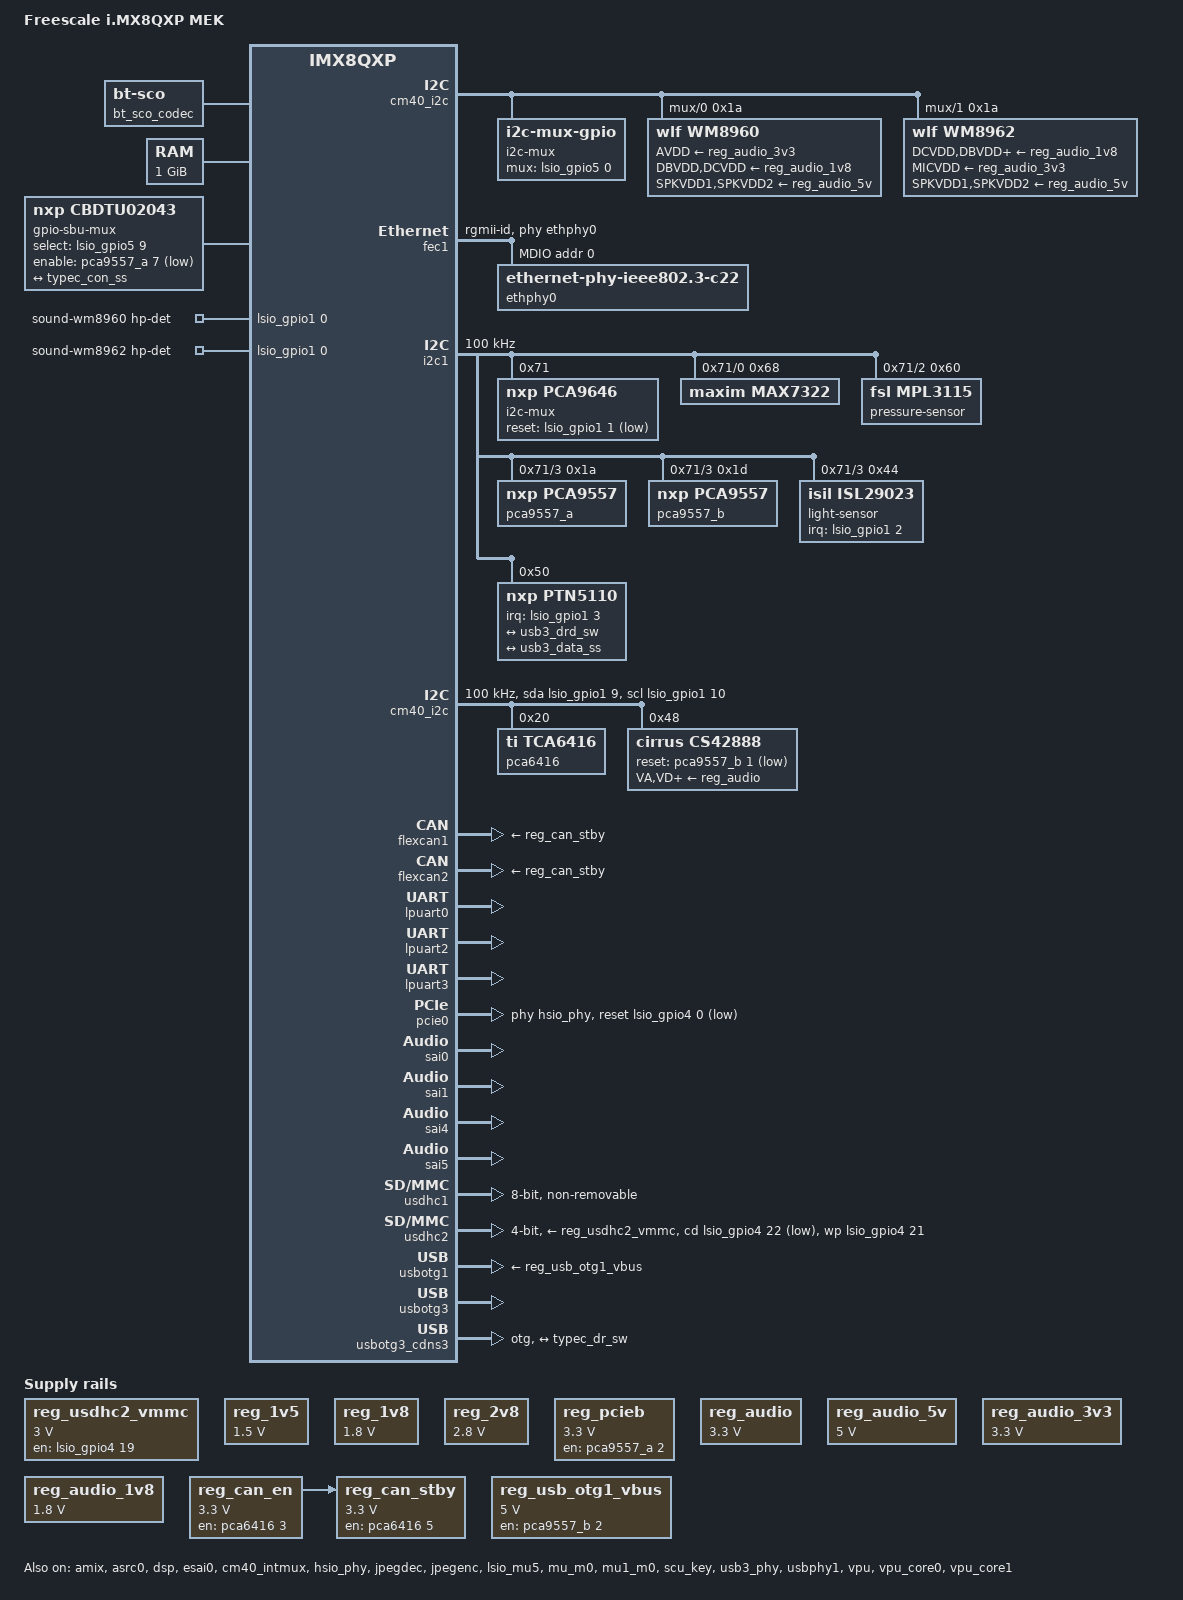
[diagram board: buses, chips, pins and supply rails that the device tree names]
// SPDX-License-Identifier: GPL-2.0+
/*
 * Copyright 2017~2018 NXP
 */

/dts-v1/;

#include "imx8qxp.dtsi"
#include <dt-bindings/usb/pd.h>

/ {
	model = "Freescale i.MX8QXP MEK";
	compatible = "fsl,imx8qxp-mek", "fsl,imx8qxp";

	bt_sco_codec: audio-codec-bt {
		compatible = "linux,bt-sco";
		#sound-dai-cells = <1>;
	};

	chosen {
		stdout-path = &lpuart0;
	};

	imx8x_cm4: imx8x-cm4 {
		compatible = "fsl,imx8qxp-cm4";
		mbox-names = "tx", "rx", "rxdb";
		mboxes = <&lsio_mu5 0 1
			  &lsio_mu5 1 1
			  &lsio_mu5 3 1>;
		memory-region = <&vdevbuffer>, <&vdev0vring0>, <&vdev0vring1>,
				<&vdev1vring0>, <&vdev1vring1>, <&rsc_table>;
		power-domains = <&pd IMX_SC_R_M4_0_PID0>,
				<&pd IMX_SC_R_M4_0_MU_1A>;
		fsl,entry-address = <0x34fe0000>;
		fsl,resource-id = <IMX_SC_R_M4_0_PID0>;
	};

	memory@80000000 {
		device_type = "memory";
		reg = <0x00000000 0x80000000 0 0x40000000>;
	};

	reg_usdhc2_vmmc: usdhc2-vmmc {
		compatible = "regulator-fixed";
		regulator-name = "SD1_SPWR";
		regulator-min-microvolt = <3000000>;
		regulator-max-microvolt = <3000000>;
		gpio = <&lsio_gpio4 19 GPIO_ACTIVE_HIGH>;
		enable-active-high;
	};

	gpio-sbu-mux {
		compatible = "nxp,cbdtu02043", "gpio-sbu-mux";
		pinctrl-names = "default";
		pinctrl-0 = <&pinctrl_typec_mux>;
		select-gpios = <&lsio_gpio5 9 GPIO_ACTIVE_HIGH>;
		enable-gpios = <&pca9557_a 7 GPIO_ACTIVE_LOW>;
		orientation-switch;

		port {
			usb3_data_ss: endpoint {
				remote-endpoint = <&typec_con_ss>;
			};
		};
	};

	i2c-mux {
		compatible = "i2c-mux-gpio";
		mux-gpios = <&lsio_gpio5 0 GPIO_ACTIVE_HIGH>; /* needs to be an unused GPIO */
		i2c-parent = <&cm40_i2c>;
		#address-cells = <1>;
		#size-cells = <0>;

		i2c@0 {
			reg = <0>;
			#address-cells = <1>;
			#size-cells = <0>;

			wm8960: audio-codec@1a {
				compatible = "wlf,wm8960";
				reg = <0x1a>;
				clocks = <&mclkout0_lpcg IMX_LPCG_CLK_0>;
				clock-names = "mclk";
				assigned-clocks = <&clk IMX_SC_R_AUDIO_PLL_0 IMX_SC_PM_CLK_PLL>,
						  <&clk IMX_SC_R_AUDIO_PLL_0 IMX_SC_PM_CLK_SLV_BUS>,
						  <&clk IMX_SC_R_AUDIO_PLL_0 IMX_SC_PM_CLK_MST_BUS>,
						  <&mclkout0_lpcg IMX_LPCG_CLK_0>;
				assigned-clock-rates = <786432000>,
						       <49152000>,
						       <12288000>,
						       <12288000>;
				wlf,shared-lrclk;
				wlf,hp-cfg = <2 2 3>;
				wlf,gpio-cfg = <1 3>;
				AVDD-supply = <&reg_audio_3v3>;
				DBVDD-supply = <&reg_audio_1v8>;
				DCVDD-supply = <&reg_audio_1v8>;
				SPKVDD1-supply = <&reg_audio_5v>;
				SPKVDD2-supply = <&reg_audio_5v>;
			};
		};

		i2c@1 {
			reg = <1>;
			#address-cells = <1>;
			#size-cells = <0>;

			wm8962: wm8962@1a {
				compatible = "wlf,wm8962";
				reg = <0x1a>;
				clocks = <&mclkout0_lpcg IMX_LPCG_CLK_0>;
				assigned-clocks = <&clk IMX_SC_R_AUDIO_PLL_0 IMX_SC_PM_CLK_PLL>,
						  <&clk IMX_SC_R_AUDIO_PLL_0 IMX_SC_PM_CLK_SLV_BUS>,
						  <&clk IMX_SC_R_AUDIO_PLL_0 IMX_SC_PM_CLK_MST_BUS>,
						  <&mclkout0_lpcg IMX_LPCG_CLK_0>;
				assigned-clock-rates = <786432000>,
						       <49152000>,
						       <12288000>,
						       <12288000>;
				DCVDD-supply = <&reg_audio_1v8>;
				DBVDD-supply = <&reg_audio_1v8>;
				AVDD-supply = <&reg_audio_1v8>;
				CPVDD-supply = <&reg_audio_1v8>;
				MICVDD-supply = <&reg_audio_3v3>;
				PLLVDD-supply = <&reg_audio_1v8>;
				SPKVDD1-supply = <&reg_audio_5v>;
				SPKVDD2-supply = <&reg_audio_5v>;
			};
		};
	};

	reg_1v5: regulator-1v5 {
		compatible = "regulator-fixed";
		regulator-name = "1v5";
		regulator-min-microvolt = <1500000>;
		regulator-max-microvolt = <1500000>;
	};

	reg_1v8: regulator-1v8 {
		compatible = "regulator-fixed";
		regulator-name = "1v8";
		regulator-min-microvolt = <1800000>;
		regulator-max-microvolt = <1800000>;
	};

	reg_2v8: regulator-2v8 {
		compatible = "regulator-fixed";
		regulator-name = "2v8";
		regulator-min-microvolt = <2800000>;
		regulator-max-microvolt = <2800000>;
	};

	reg_pcieb: regulator-pcie {
		compatible = "regulator-fixed";
		regulator-max-microvolt = <3300000>;
		regulator-min-microvolt = <3300000>;
		regulator-name = "mpcie_3v3";
		gpio = <&pca9557_a 2 GPIO_ACTIVE_HIGH>;
		enable-active-high;
	};

	reg_audio: regulator-audio {
		compatible = "regulator-fixed";
		regulator-max-microvolt = <3300000>;
		regulator-min-microvolt = <3300000>;
		regulator-name = "cs42888_supply";
	};

	reg_audio_5v: regulator-audio-pwr {
		compatible = "regulator-fixed";
		regulator-name = "audio-5v";
		regulator-min-microvolt = <5000000>;
		regulator-max-microvolt = <5000000>;
		regulator-always-on;
		regulator-boot-on;
	};

	reg_audio_3v3: regulator-audio-3v3 {
		compatible = "regulator-fixed";
		regulator-name = "audio-3v3";
		regulator-min-microvolt = <3300000>;
		regulator-max-microvolt = <3300000>;
		regulator-always-on;
		regulator-boot-on;
	};

	reg_audio_1v8: regulator-audio-1v8 {
		compatible = "regulator-fixed";
		regulator-name = "audio-1v8";
		regulator-min-microvolt = <1800000>;
		regulator-max-microvolt = <1800000>;
		regulator-always-on;
		regulator-boot-on;
	};

	reg_can_en: regulator-can-en {
		compatible = "regulator-fixed";
		regulator-max-microvolt = <3300000>;
		regulator-min-microvolt = <3300000>;
		regulator-name = "can-en";
		gpio = <&pca6416 3 GPIO_ACTIVE_HIGH>;
		enable-active-high;
	};

	reg_can_stby: regulator-can-stby {
		compatible = "regulator-fixed";
		regulator-max-microvolt = <3300000>;
		regulator-min-microvolt = <3300000>;
		regulator-name = "can-stby";
		gpio = <&pca6416 5 GPIO_ACTIVE_HIGH>;
		enable-active-high;
		vin-supply = <&reg_can_en>;
	};

	reg_usb_otg1_vbus: regulator-usbotg1-vbus {
		compatible = "regulator-fixed";
		regulator-max-microvolt = <5000000>;
		regulator-min-microvolt = <5000000>;
		regulator-name = "usb_otg1_vbus";
		gpio = <&pca9557_b 2 GPIO_ACTIVE_HIGH>;
		enable-active-high;
	};

	reserved-memory {
		#address-cells = <2>;
		#size-cells = <2>;
		ranges;

		vdev0vring0: memory@90000000 {
			reg = <0 0x90000000 0 0x8000>;
			no-map;
		};

		vdev0vring1: memory@90008000 {
			reg = <0 0x90008000 0 0x8000>;
			no-map;
		};

		vdev1vring0: memory@90010000 {
			reg = <0 0x90010000 0 0x8000>;
			no-map;
		};

		vdev1vring1: memory@90018000 {
			reg = <0 0x90018000 0 0x8000>;
			no-map;
		};

		rsc_table: memory@900ff000 {
			reg = <0 0x900ff000 0 0x1000>;
			no-map;
		};

		vdevbuffer: memory@90400000 {
			compatible = "shared-dma-pool";
			reg = <0 0x90400000 0 0x100000>;
			no-map;
		};

		dsp_vdev0vring0: memory@942f0000 {
			reg = <0 0x942f0000 0 0x8000>;
			no-map;
		};

		dsp_vdev0vring1: memory@942f8000 {
			reg = <0 0x942f8000 0 0x8000>;
			no-map;
		};

		dsp_vdev0buffer: memory@94300000 {
			compatible = "shared-dma-pool";
			reg = <0 0x94300000 0 0x100000>;
			no-map;
		};

		/* global autoconfigured region for contiguous allocations */
		linux,cma {
			compatible = "shared-dma-pool";
			alloc-ranges = <0 0xc0000000 0 0x3c000000>;
			size = <0 0x3c000000>;
			linux,cma-default;
			reusable;
		};

		gpu_reserved: memory@880000000 {
			no-map;
			reg = <0x8 0x80000000 0 0x10000000>;
		};
	};

	sound-bt-sco {
		compatible = "simple-audio-card";
		simple-audio-card,bitclock-inversion;
		simple-audio-card,bitclock-master = <&btcpu>;
		simple-audio-card,format = "dsp_a";
		simple-audio-card,frame-master = <&btcpu>;
		simple-audio-card,name = "bt-sco-audio";

		simple-audio-card,codec {
			sound-dai = <&bt_sco_codec 1>;
		};

		btcpu: simple-audio-card,cpu {
			dai-tdm-slot-num = <2>;
			dai-tdm-slot-width = <16>;
			sound-dai = <&sai0>;
		};
	};

	sound-cs42888 {
		compatible = "fsl,imx-audio-cs42888";
		audio-asrc = <&asrc0>;
		audio-codec = <&cs42888>;
		audio-cpu = <&esai0>;
		audio-routing =
			"Line Out Jack", "AOUT1L",
			"Line Out Jack", "AOUT1R",
			"Line Out Jack", "AOUT2L",
			"Line Out Jack", "AOUT2R",
			"Line Out Jack", "AOUT3L",
			"Line Out Jack", "AOUT3R",
			"Line Out Jack", "AOUT4L",
			"Line Out Jack", "AOUT4R",
			"AIN1L", "Line In Jack",
			"AIN1R", "Line In Jack",
			"AIN2L", "Line In Jack",
			"AIN2R", "Line In Jack";
		model = "imx-cs42888";
	};

	sound-wm8960 {
		compatible = "fsl,imx-audio-wm8960";
		model = "wm8960-audio";
		audio-cpu = <&sai1>;
		audio-codec = <&wm8960>;
		hp-det-gpios = <&lsio_gpio1 0 GPIO_ACTIVE_HIGH>;
		audio-routing = "Headphone Jack", "HP_L",
				"Headphone Jack", "HP_R",
				"Ext Spk", "SPK_LP",
				"Ext Spk", "SPK_LN",
				"Ext Spk", "SPK_RP",
				"Ext Spk", "SPK_RN",
				"LINPUT1", "Mic Jack",
				"Mic Jack", "MICB";
	};

	sound-wm8962 {
		compatible = "fsl,imx-audio-wm8962";
		model = "wm8962-audio";
		audio-cpu = <&sai1>;
		audio-codec = <&wm8962>;
		hp-det-gpios = <&lsio_gpio1 0 GPIO_ACTIVE_HIGH>;
		audio-routing = "Headphone Jack", "HPOUTL",
				"Headphone Jack", "HPOUTR",
				"Ext Spk", "SPKOUTL",
				"Ext Spk", "SPKOUTR",
				"AMIC", "MICBIAS",
				"IN3R", "AMIC",
				"IN1R", "AMIC";
	};
};

&amix {
	status = "okay";
};

&asrc0 {
	fsl,asrc-rate = <48000>;
	status = "okay";
};

&dsp {
	memory-region = <&dsp_vdev0buffer>, <&dsp_vdev0vring0>,
			<&dsp_vdev0vring1>, <&dsp_reserved>;
	status = "okay";
};

&dsp_reserved {
	status = "okay";
};

&esai0 {
	assigned-clocks = <&acm IMX_ADMA_ACM_ESAI0_MCLK_SEL>,
			<&clk IMX_SC_R_AUDIO_PLL_0 IMX_SC_PM_CLK_PLL>,
			<&clk IMX_SC_R_AUDIO_PLL_0 IMX_SC_PM_CLK_SLV_BUS>,
			<&clk IMX_SC_R_AUDIO_PLL_0 IMX_SC_PM_CLK_MST_BUS>,
			<&esai0_lpcg IMX_LPCG_CLK_0>;
	assigned-clock-parents = <&aud_pll_div0_lpcg IMX_LPCG_CLK_0>;
	assigned-clock-rates = <0>, <786432000>, <49152000>, <12288000>, <49152000>;
	pinctrl-0 = <&pinctrl_esai0>;
	pinctrl-names = "default";
	status = "okay";
};

&fec1 {
	pinctrl-names = "default";
	pinctrl-0 = <&pinctrl_fec1>;
	phy-mode = "rgmii-id";
	phy-handle = <&ethphy0>;
	fsl,magic-packet;
	status = "okay";

	mdio {
		#address-cells = <1>;
		#size-cells = <0>;

		ethphy0: ethernet-phy@0 {
			compatible = "ethernet-phy-ieee802.3-c22";
			reg = <0>;
		};
	};
};

&i2c1 {
	#address-cells = <1>;
	#size-cells = <0>;
	clock-frequency = <100000>;
	pinctrl-names = "default";
	pinctrl-0 = <&pinctrl_lpi2c1 &pinctrl_ioexp_rst>;
	status = "okay";

	i2c-mux@71 {
		compatible = "nxp,pca9646", "nxp,pca9546";
		#address-cells = <1>;
		#size-cells = <0>;
		reg = <0x71>;
		reset-gpios = <&lsio_gpio1 1 GPIO_ACTIVE_LOW>;

		i2c@0 {
			#address-cells = <1>;
			#size-cells = <0>;
			reg = <0>;

			max7322: gpio@68 {
				compatible = "maxim,max7322";
				reg = <0x68>;
				gpio-controller;
				#gpio-cells = <2>;
			};
		};

		i2c@1 {
			#address-cells = <1>;
			#size-cells = <0>;
			reg = <1>;
		};

		i2c@2 {
			#address-cells = <1>;
			#size-cells = <0>;
			reg = <2>;

			pressure-sensor@60 {
				compatible = "fsl,mpl3115";
				reg = <0x60>;
			};
		};

		i2c@3 {
			#address-cells = <1>;
			#size-cells = <0>;
			reg = <3>;

			pca9557_a: gpio@1a {
				compatible = "nxp,pca9557";
				reg = <0x1a>;
				gpio-controller;
				#gpio-cells = <2>;
			};

			pca9557_b: gpio@1d {
				compatible = "nxp,pca9557";
				reg = <0x1d>;
				gpio-controller;
				#gpio-cells = <2>;
			};

			light-sensor@44 {
				pinctrl-names = "default";
				pinctrl-0 = <&pinctrl_isl29023>;
				compatible = "isil,isl29023";
				reg = <0x44>;
				interrupt-parent = <&lsio_gpio1>;
				interrupts = <2 IRQ_TYPE_EDGE_FALLING>;
			};
		};
	};

	ptn5110: tcpc@50 {
		compatible = "nxp,ptn5110", "tcpci";
		pinctrl-names = "default";
		pinctrl-0 = <&pinctrl_typec>;
		reg = <0x50>;
		interrupt-parent = <&lsio_gpio1>;
		interrupts = <3 IRQ_TYPE_LEVEL_LOW>;

		usb_con1: connector {
			compatible = "usb-c-connector";
			label = "USB-C";
			power-role = "source";
			data-role = "dual";
			source-pdos = <PDO_FIXED(5000, 3000, PDO_FIXED_USB_COMM)>;

			ports {
				#address-cells = <1>;
				#size-cells = <0>;

				port@0 {
					reg = <0>;

					typec_dr_sw: endpoint {
						remote-endpoint = <&usb3_drd_sw>;
					};
				};

				port@1 {
					reg = <1>;

					typec_con_ss: endpoint {
						remote-endpoint = <&usb3_data_ss>;
					};
				};
			};
		};
	};

};

&cm40_i2c {
	#address-cells = <1>;
	#size-cells = <0>;
	clock-frequency = <100000>;
	pinctrl-names = "default", "gpio";
	pinctrl-0 = <&pinctrl_cm40_i2c>;
	pinctrl-1 = <&pinctrl_cm40_i2c_gpio>;
	scl-gpios = <&lsio_gpio1 10 GPIO_ACTIVE_HIGH>;
	sda-gpios = <&lsio_gpio1 9 GPIO_ACTIVE_HIGH>;
	status = "okay";

	pca6416: gpio@20 {
		compatible = "ti,tca6416";
		reg = <0x20>;
		gpio-controller;
		#gpio-cells = <2>;
	};

	cs42888: audio-codec@48 {
		compatible = "cirrus,cs42888";
		reg = <0x48>;
		clocks = <&mclkout0_lpcg IMX_LPCG_CLK_0>;
		clock-names = "mclk";
		assigned-clocks = <&clk IMX_SC_R_AUDIO_PLL_0 IMX_SC_PM_CLK_PLL>,
				<&clk IMX_SC_R_AUDIO_PLL_0 IMX_SC_PM_CLK_SLV_BUS>,
				<&clk IMX_SC_R_AUDIO_PLL_0 IMX_SC_PM_CLK_MST_BUS>,
				<&mclkout0_lpcg IMX_LPCG_CLK_0>;
		assigned-clock-rates = <786432000>, <49152000>, <12288000>, <12288000>;
		reset-gpios = <&pca9557_b 1 GPIO_ACTIVE_LOW>;
		VA-supply = <&reg_audio>;
		VD-supply = <&reg_audio>;
		VLC-supply = <&reg_audio>;
		VLS-supply = <&reg_audio>;
	};
};

&cm40_intmux {
	status = "okay";
};

&hsio_phy {
	fsl,hsio-cfg = "pciea-x2-pcieb";
	fsl,refclk-pad-mode = "input";
	status = "okay";
};

&flexcan1 {
	pinctrl-0 = <&pinctrl_flexcan1>;
	pinctrl-names = "default";
	xceiver-supply = <&reg_can_stby>;
	status = "okay";
};

&flexcan2 {
	pinctrl-0 = <&pinctrl_flexcan2>;
	pinctrl-names = "default";
	xceiver-supply = <&reg_can_stby>;
	status = "okay";
};

&jpegdec {
	status = "okay";
};

&jpegenc {
	status = "okay";
};

&lpuart0 {
	pinctrl-names = "default";
	pinctrl-0 = <&pinctrl_lpuart0>;
	status = "okay";
};

&lpuart2 {
	pinctrl-names = "default";
	pinctrl-0 = <&pinctrl_lpuart2>;
	status = "okay";
};

&lpuart3 {
	pinctrl-names = "default";
	pinctrl-0 = <&pinctrl_lpuart3>;
	status = "okay";
};

&lsio_mu5 {
	status = "okay";
};

&mu_m0 {
	status = "okay";
};

&mu1_m0 {
	status = "okay";
};

&pcie0 {
	phys = <&hsio_phy 0 PHY_TYPE_PCIE 0>;
	phy-names = "pcie-phy";
	pinctrl-0 = <&pinctrl_pcieb>;
	pinctrl-names = "default";
	reset-gpios = <&lsio_gpio4 0 GPIO_ACTIVE_LOW>;
	vpcie-supply = <&reg_pcieb>;
	status = "okay";
};

&pcie0_ep {
	phys = <&hsio_phy 0 PHY_TYPE_PCIE 0>;
	phy-names = "pcie-phy";
	pinctrl-0 = <&pinctrl_pcieb>;
	pinctrl-names = "default";
	vpcie-supply = <&reg_pcieb>;
	status = "disabled";
};

&scu_key {
	status = "okay";
};

&sai0 {
	#sound-dai-cells = <0>;
	assigned-clocks = <&clk IMX_SC_R_AUDIO_PLL_0 IMX_SC_PM_CLK_PLL>,
			  <&clk IMX_SC_R_AUDIO_PLL_0 IMX_SC_PM_CLK_SLV_BUS>,
			  <&clk IMX_SC_R_AUDIO_PLL_0 IMX_SC_PM_CLK_MST_BUS>,
			  <&sai0_lpcg IMX_LPCG_CLK_0>;
	assigned-clock-rates = <786432000>, <49152000>, <12288000>, <49152000>;
	pinctrl-names = "default";
	pinctrl-0 = <&pinctrl_sai0>;
	status = "okay";
};

&sai1 {
	assigned-clocks = <&clk IMX_SC_R_AUDIO_PLL_0 IMX_SC_PM_CLK_PLL>,
			  <&clk IMX_SC_R_AUDIO_PLL_0 IMX_SC_PM_CLK_SLV_BUS>,
			  <&clk IMX_SC_R_AUDIO_PLL_0 IMX_SC_PM_CLK_MST_BUS>,
			  <&sai1_lpcg IMX_LPCG_CLK_0>;
	assigned-clock-rates = <786432000>, <49152000>, <12288000>, <49152000>;
	pinctrl-names = "default";
	pinctrl-0 = <&pinctrl_sai1>;
	status = "okay";
};

&sai4 {
	assigned-clocks = <&acm IMX_ADMA_ACM_SAI4_MCLK_SEL>,
			  <&clk IMX_SC_R_AUDIO_PLL_1 IMX_SC_PM_CLK_PLL>,
			  <&clk IMX_SC_R_AUDIO_PLL_1 IMX_SC_PM_CLK_SLV_BUS>,
			  <&clk IMX_SC_R_AUDIO_PLL_1 IMX_SC_PM_CLK_MST_BUS>,
			  <&sai4_lpcg IMX_LPCG_CLK_0>;
	assigned-clock-parents = <&aud_pll_div1_lpcg IMX_LPCG_CLK_0>;
	assigned-clock-rates = <0>, <786432000>, <98304000>, <12288000>, <98304000>;
	fsl,sai-asynchronous;
	status = "okay";
};

&sai5 {
	assigned-clocks = <&acm IMX_ADMA_ACM_SAI5_MCLK_SEL>,
			  <&clk IMX_SC_R_AUDIO_PLL_1 IMX_SC_PM_CLK_PLL>,
			  <&clk IMX_SC_R_AUDIO_PLL_1 IMX_SC_PM_CLK_SLV_BUS>,
			  <&clk IMX_SC_R_AUDIO_PLL_1 IMX_SC_PM_CLK_MST_BUS>,
			  <&sai5_lpcg IMX_LPCG_CLK_0>;
	assigned-clock-parents = <&aud_pll_div1_lpcg IMX_LPCG_CLK_0>;
	assigned-clock-rates = <0>, <786432000>, <98304000>, <12288000>, <98304000>;
	fsl,sai-asynchronous;
	status = "okay";
};

&thermal_zones {
	pmic-thermal {
		polling-delay-passive = <250>;
		polling-delay = <2000>;
		thermal-sensors = <&tsens IMX_SC_R_PMIC_0>;

		trips {
			pmic_alert0: trip0 {
				temperature = <110000>;
				hysteresis = <2000>;
				type = "passive";
			};

			pmic_crit0: trip1 {
				temperature = <125000>;
				hysteresis = <2000>;
				type = "critical";
			};
		};

		cooling-maps {
			map0 {
				trip = <&pmic_alert0>;
				cooling-device =
					<&A35_0 THERMAL_NO_LIMIT THERMAL_NO_LIMIT>,
					<&A35_1 THERMAL_NO_LIMIT THERMAL_NO_LIMIT>,
					<&A35_2 THERMAL_NO_LIMIT THERMAL_NO_LIMIT>,
					<&A35_3 THERMAL_NO_LIMIT THERMAL_NO_LIMIT>;
			};
		};
	};
};

&usdhc1 {
	assigned-clocks = <&clk IMX_SC_R_SDHC_0 IMX_SC_PM_CLK_PER>;
	assigned-clock-rates = <200000000>;
	pinctrl-names = "default";
	pinctrl-0 = <&pinctrl_usdhc1>;
	bus-width = <8>;
	no-sd;
	no-sdio;
	non-removable;
	status = "okay";
};

&usdhc2 {
	assigned-clocks = <&clk IMX_SC_R_SDHC_1 IMX_SC_PM_CLK_PER>;
	assigned-clock-rates = <200000000>;
	pinctrl-names = "default";
	pinctrl-0 = <&pinctrl_usdhc2>;
	bus-width = <4>;
	vmmc-supply = <&reg_usdhc2_vmmc>;
	cd-gpios = <&lsio_gpio4 22 GPIO_ACTIVE_LOW>;
	wp-gpios = <&lsio_gpio4 21 GPIO_ACTIVE_HIGH>;
	status = "okay";
};

&usb3_phy {
	status = "okay";
};

&usbphy1 {
	status = "okay";
};

&usbotg1 {
	adp-disable;
	hnp-disable;
	srp-disable;
	disable-over-current;
	power-active-high;
	vbus-supply = <&reg_usb_otg1_vbus>;
	status = "okay";
};

&usbotg3 {
	status = "okay";
};

&usbotg3_cdns3 {
	dr_mode = "otg";
	usb-role-switch;
	status = "okay";

	port {
		usb3_drd_sw: endpoint {
			remote-endpoint = <&typec_dr_sw>;
		};
	};
};


&vpu {
	compatible = "nxp,imx8qxp-vpu";
	status = "okay";
};

&vpu_core0 {
	reg = <0x2d040000 0x10000>;
	memory-region = <&decoder_boot>, <&decoder_rpc>;
	status = "okay";
};

&vpu_core1 {
	reg = <0x2d050000 0x10000>;
	memory-region = <&encoder_boot>, <&encoder_rpc>;
	status = "okay";
};

&iomuxc {

	pinctrl_cm40_i2c: cm40i2cgrp {
		fsl,pins = <
			IMX8QXP_ADC_IN1_M40_I2C0_SDA                            0x0600004c
			IMX8QXP_ADC_IN0_M40_I2C0_SCL                            0x0600004c
		>;
	};

	pinctrl_cm40_i2c_gpio: cm40i2cgpio-grp {
		fsl,pins = <
			IMX8QXP_ADC_IN1_LSIO_GPIO1_IO09				0xc600004c
			IMX8QXP_ADC_IN0_LSIO_GPIO1_IO10				0xc600004c
		>;
	};

	pinctrl_esai0: esai0grp {
		fsl,pins = <
			IMX8QXP_ESAI0_FSR_ADMA_ESAI0_FSR           0xc6000040
			IMX8QXP_ESAI0_FST_ADMA_ESAI0_FST           0xc6000040
			IMX8QXP_ESAI0_SCKR_ADMA_ESAI0_SCKR         0xc6000040
			IMX8QXP_ESAI0_SCKT_ADMA_ESAI0_SCKT         0xc6000040
			IMX8QXP_ESAI0_TX0_ADMA_ESAI0_TX0           0xc6000040
			IMX8QXP_ESAI0_TX1_ADMA_ESAI0_TX1           0xc6000040
			IMX8QXP_ESAI0_TX2_RX3_ADMA_ESAI0_TX2_RX3   0xc6000040
			IMX8QXP_ESAI0_TX3_RX2_ADMA_ESAI0_TX3_RX2   0xc6000040
			IMX8QXP_ESAI0_TX4_RX1_ADMA_ESAI0_TX4_RX1   0xc6000040
			IMX8QXP_ESAI0_TX5_RX0_ADMA_ESAI0_TX5_RX0   0xc6000040
		>;
	};

	pinctrl_fec1: fec1grp {
		fsl,pins = <
			IMX8QXP_ENET0_MDC_CONN_ENET0_MDC			0x06000020
			IMX8QXP_ENET0_MDIO_CONN_ENET0_MDIO			0x06000020
			IMX8QXP_ENET0_RGMII_TX_CTL_CONN_ENET0_RGMII_TX_CTL	0x06000020
			IMX8QXP_ENET0_RGMII_TXC_CONN_ENET0_RGMII_TXC		0x06000020
			IMX8QXP_ENET0_RGMII_TXD0_CONN_ENET0_RGMII_TXD0		0x06000020
			IMX8QXP_ENET0_RGMII_TXD1_CONN_ENET0_RGMII_TXD1		0x06000020
			IMX8QXP_ENET0_RGMII_TXD2_CONN_ENET0_RGMII_TXD2		0x06000020
			IMX8QXP_ENET0_RGMII_TXD3_CONN_ENET0_RGMII_TXD3		0x06000020
			IMX8QXP_ENET0_RGMII_RXC_CONN_ENET0_RGMII_RXC		0x06000020
			IMX8QXP_ENET0_RGMII_RX_CTL_CONN_ENET0_RGMII_RX_CTL	0x06000020
			IMX8QXP_ENET0_RGMII_RXD0_CONN_ENET0_RGMII_RXD0		0x06000020
			IMX8QXP_ENET0_RGMII_RXD1_CONN_ENET0_RGMII_RXD1		0x06000020
			IMX8QXP_ENET0_RGMII_RXD2_CONN_ENET0_RGMII_RXD2		0x06000020
			IMX8QXP_ENET0_RGMII_RXD3_CONN_ENET0_RGMII_RXD3		0x06000020
		>;
	};

	pinctrl_flexcan1: flexcan0grp {
		fsl,pins = <
			IMX8QXP_FLEXCAN0_TX_ADMA_FLEXCAN0_TX			0x21
			IMX8QXP_FLEXCAN0_RX_ADMA_FLEXCAN0_RX			0x21
		>;
	};

	pinctrl_flexcan2: flexcan1grp {
		fsl,pins = <
			IMX8QXP_FLEXCAN1_TX_ADMA_FLEXCAN1_TX			0x21
			IMX8QXP_FLEXCAN1_RX_ADMA_FLEXCAN1_RX			0x21
		>;
	};

	pinctrl_i2c_mipi_csi0: i2c-mipi-csi0grp {
		fsl,pins = <
			IMX8QXP_MIPI_CSI0_I2C0_SCL_MIPI_CSI0_I2C0_SCL		0xc2000020
			IMX8QXP_MIPI_CSI0_I2C0_SDA_MIPI_CSI0_I2C0_SDA		0xc2000020
		>;
	};

	pinctrl_ioexp_rst: ioexprstgrp {
		fsl,pins = <
			IMX8QXP_SPI2_SDO_LSIO_GPIO1_IO01			0x06000021
		>;
	};

	pinctrl_isl29023: isl29023grp {
		fsl,pins = <
			IMX8QXP_SPI2_SDI_LSIO_GPIO1_IO02			0x00000021
		>;
	};

	pinctrl_lpi2c1: lpi2c1grp {
		fsl,pins = <
			IMX8QXP_USB_SS3_TC1_ADMA_I2C1_SCL			0x06000021
			IMX8QXP_USB_SS3_TC3_ADMA_I2C1_SDA			0x06000021
		>;
	};

	pinctrl_lpuart0: lpuart0grp {
		fsl,pins = <
			IMX8QXP_UART0_RX_ADMA_UART0_RX				0x06000020
			IMX8QXP_UART0_TX_ADMA_UART0_TX				0x06000020
		>;
	};

	pinctrl_lpuart2: lpuart2grp {
		fsl,pins = <
			IMX8QXP_UART2_TX_ADMA_UART2_TX          0x06000020
			IMX8QXP_UART2_RX_ADMA_UART2_RX          0x06000020
		>;
	};

	pinctrl_lpuart3: lpuart3grp {
		fsl,pins = <
			IMX8QXP_FLEXCAN2_TX_ADMA_UART3_TX       0x06000020
			IMX8QXP_FLEXCAN2_RX_ADMA_UART3_RX       0x06000020
		>;
	};

	pinctrl_mipi_csi0: mipi-csi0grp {
		fsl,pins = <
			IMX8QXP_MIPI_CSI0_GPIO0_01_LSIO_GPIO3_IO07		0xC0000041
			IMX8QXP_MIPI_CSI0_GPIO0_00_LSIO_GPIO3_IO08		0xC0000041
			IMX8QXP_MIPI_CSI0_MCLK_OUT_MIPI_CSI0_ACM_MCLK_OUT	0xC0000041
		>;
	};

	pinctrl_pcieb: pcieagrp {
		fsl,pins = <
			IMX8QXP_PCIE_CTRL0_PERST_B_LSIO_GPIO4_IO00		0x06000021
			IMX8QXP_PCIE_CTRL0_CLKREQ_B_HSIO_PCIE0_CLKREQ_B		0x06000021
			IMX8QXP_PCIE_CTRL0_WAKE_B_LSIO_GPIO4_IO02		0x04000021
		>;
	};

	pinctrl_typec: typecgrp {
		fsl,pins = <
			IMX8QXP_SPI2_SCK_LSIO_GPIO1_IO03                        0x06000021
		>;
	};

	pinctrl_typec_mux: typecmuxgrp {
		fsl,pins = <
			IMX8QXP_ENET0_REFCLK_125M_25M_LSIO_GPIO5_IO09           0x60
		>;
	};

	pinctrl_sai0: sai0grp {
		fsl,pins = <
			IMX8QXP_SAI0_TXD_ADMA_SAI0_TXD		0x06000060
			IMX8QXP_SAI0_RXD_ADMA_SAI0_RXD		0x06000040
			IMX8QXP_SAI0_TXC_ADMA_SAI0_TXC		0x06000040
			IMX8QXP_SAI0_TXFS_ADMA_SAI0_TXFS	0x06000040
		>;
	};

	pinctrl_sai1: sai1grp {
		fsl,pins = <
			IMX8QXP_SAI1_RXD_ADMA_SAI1_RXD     0x06000040
			IMX8QXP_SAI1_RXC_ADMA_SAI1_TXC     0x06000040
			IMX8QXP_SAI1_RXFS_ADMA_SAI1_TXFS   0x06000040
			IMX8QXP_SPI0_CS1_ADMA_SAI1_TXD     0x06000060
			IMX8QXP_SPI2_CS0_LSIO_GPIO1_IO00   0x06000040
		>;
	};

	pinctrl_usdhc1: usdhc1grp {
		fsl,pins = <
			IMX8QXP_EMMC0_CLK_CONN_EMMC0_CLK			0x06000041
			IMX8QXP_EMMC0_CMD_CONN_EMMC0_CMD			0x00000021
			IMX8QXP_EMMC0_DATA0_CONN_EMMC0_DATA0			0x00000021
			IMX8QXP_EMMC0_DATA1_CONN_EMMC0_DATA1			0x00000021
			IMX8QXP_EMMC0_DATA2_CONN_EMMC0_DATA2			0x00000021
			IMX8QXP_EMMC0_DATA3_CONN_EMMC0_DATA3			0x00000021
			IMX8QXP_EMMC0_DATA4_CONN_EMMC0_DATA4			0x00000021
			IMX8QXP_EMMC0_DATA5_CONN_EMMC0_DATA5			0x00000021
			IMX8QXP_EMMC0_DATA6_CONN_EMMC0_DATA6			0x00000021
			IMX8QXP_EMMC0_DATA7_CONN_EMMC0_DATA7			0x00000021
			IMX8QXP_EMMC0_STROBE_CONN_EMMC0_STROBE			0x00000041
		>;
	};

	pinctrl_usdhc2: usdhc2grp {
		fsl,pins = <
			IMX8QXP_USDHC1_CLK_CONN_USDHC1_CLK			0x06000041
			IMX8QXP_USDHC1_CMD_CONN_USDHC1_CMD			0x00000021
			IMX8QXP_USDHC1_DATA0_CONN_USDHC1_DATA0			0x00000021
			IMX8QXP_USDHC1_DATA1_CONN_USDHC1_DATA1			0x00000021
			IMX8QXP_USDHC1_DATA2_CONN_USDHC1_DATA2			0x00000021
			IMX8QXP_USDHC1_DATA3_CONN_USDHC1_DATA3			0x00000021
			IMX8QXP_USDHC1_VSELECT_CONN_USDHC1_VSELECT		0x00000021
		>;
	};
};
